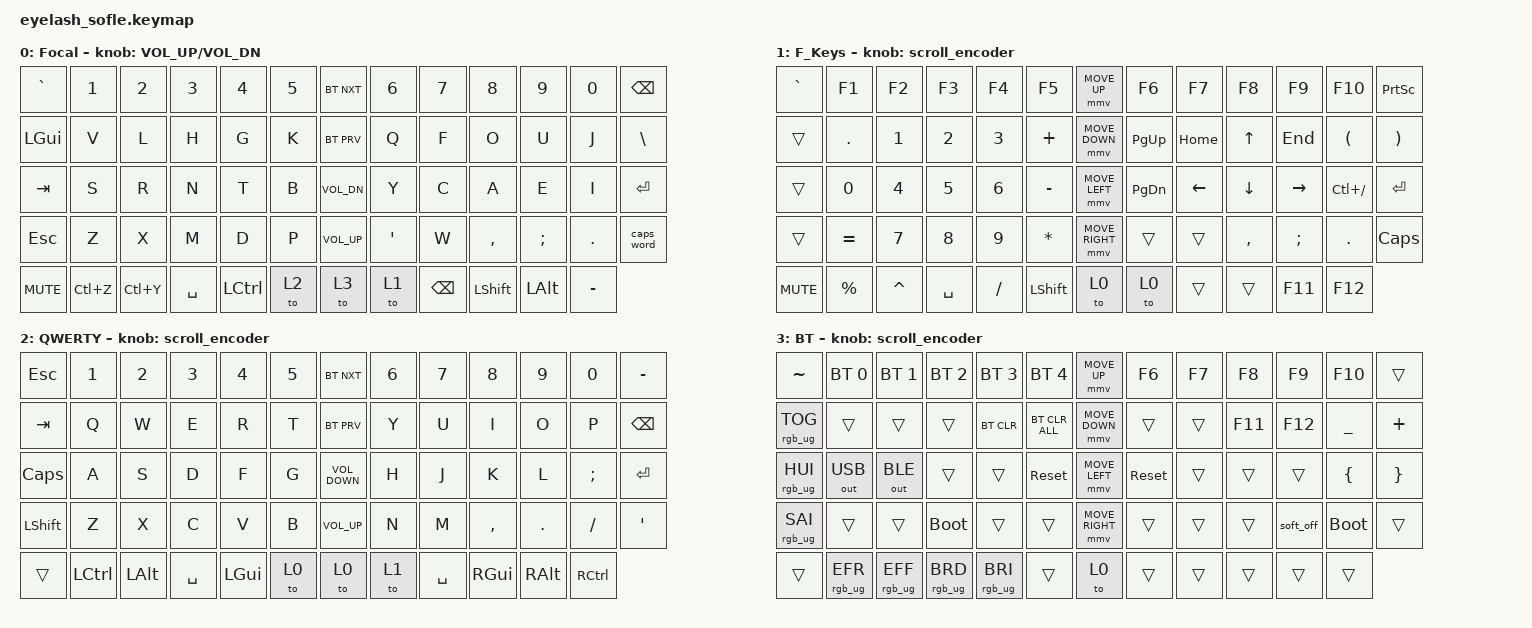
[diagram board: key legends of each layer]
#define ZMK_POINTING_DEFAULT_MOVE_VAL 1200  // 600
#define ZMK_POINTING_DEFAULT_SCRL_VAL 25   // 10

#include <input/processors.dtsi>
#include <zephyr/dt-bindings/input/input-event-codes.h>
#include <behaviors.dtsi>
#include <dt-bindings/zmk/bt.h>
#include <dt-bindings/zmk/keys.h>
#include <dt-bindings/zmk/outputs.h>
#include <dt-bindings/zmk/pointing.h>
#include <dt-bindings/zmk/rgb.h>

&mmv_input_listener { input-processors = <&zip_xy_scaler 2 1>; };

&msc_input_listener { input-processors = <&zip_scroll_scaler 2 1>; };

&msc {
    acceleration-exponent = <1>;      // 0
    time-to-max-speed-ms = <100>;       // 300
    delay-ms = <0>;                   // 0
};

&mmv {
    time-to-max-speed-ms = <500>;
    acceleration-exponent = <1>;
    trigger-period-ms = <16>;
};

/ {
    scroll_encoder: scroll_encoder {
        compatible = "zmk,behavior-sensor-rotate";
        #sensor-binding-cells = <0>;
        bindings = <&msc SCRL_DOWN>, <&msc SCRL_UP>;

        tap-ms = <100>;
    };

    combos {
        compatible = "zmk,combos";

        left_layer {
            bindings = <&tog 1>;
            key-positions = <27 28 29>;
            layers = <0 1>;
            timeout-ms = <150>;
            slow-release;
        };

        right_layer {
            bindings = <&tog 1>;
            key-positions = <35 36 37>;
            layers = <0 1>;
            timeout-ms = <150>;
            slow-release;
        };

        exclaimation {
            bindings = <&kp EXCL>;
            key-positions = <48 49>;
            timeout-ms = <150>;
            layers = <0 1>;
        };

        left_parenthesis {
            bindings = <&kp LEFT_PARENTHESIS>;
            key-positions = <34 30>;
            timeout-ms = <60>;
            layers = <0 1>;
        };

        right_parenthesis {
            bindings = <&kp RIGHT_PARENTHESIS>;
            key-positions = <35 29>;
            timeout-ms = <60>;
            layers = <0 1>;
        };

        left_square_bracket {
            bindings = <&kp LEFT_BRACKET>;
            key-positions = <21 17>;
            timeout-ms = <60>;
            layers = <0 1>;
        };

        right_square_bracket {
            bindings = <&kp RIGHT_BRACKET>;
            key-positions = <22 16>;
            timeout-ms = <60>;
            layers = <0 1>;
        };

        left_curly_bracket {
            bindings = <&kp LEFT_BRACE>;
            key-positions = <47 43>;
            timeout-ms = <60>;
            layers = <0 1>;
        };

        right_curly_bracket {
            bindings = <&kp RIGHT_BRACE>;
            key-positions = <48 42>;
            timeout-ms = <60>;
            layers = <0 1>;
        };

        underscore {
            bindings = <&kp UNDERSCORE>;
            key-positions = <33 34>;
            timeout-ms = <80>;
            layers = <0 1>;
        };

        plus {
            bindings = <&kp PLUS>;
            key-positions = <42 43>;
            timeout-ms = <150>;
            layers = <0>;
        };

        minus {
            bindings = <&kp MINUS>;
            key-positions = <41 42>;
            timeout-ms = <150>;
            layers = <0>;
        };

        equal {
            bindings = <&kp EQUAL>;
            key-positions = <30 31>;
            timeout-ms = <80>;
            layers = <0>;
        };

        forward_slash {
            bindings = <&kp SLASH>;
            key-positions = <40 41>;
            timeout-ms = <150>;
            layers = <0>;
        };

        times {
            bindings = <&kp ASTERISK>;
            key-positions = <43 44>;
            timeout-ms = <150>;
            layers = <0>;
        };

        question_mark {
            bindings = <&kp QUESTION>;
            key-positions = <47 48>;
            timeout-ms = <150>;
            layers = <0 1>;
        };

        ampersand {
            bindings = <&kp AMPERSAND>;
            key-positions = <50 49>;
            timeout-ms = <150>;
            layers = <0 1>;
        };

        caret {
            bindings = <&kp CARET>;
            key-positions = <46 47>;
            timeout-ms = <150>;
            layers = <0 1>;
        };

        percent {
            bindings = <&kp PERCENT>;
            key-positions = <17 18>;
            timeout-ms = <150>;
            layers = <0 1>;
        };

        at_sign {
            bindings = <&kp AT>;
            key-positions = <20 21>;
            timeout-ms = <150>;
            layers = <0 1>;
        };
    };

    behaviors {
    };

    keymap {
        compatible = "zmk,keymap";

        Focal {
            bindings = <
&kp GRAVE     &kp N1     &kp N2     &kp N3     &kp N4            &kp N5    &bt BT_NXT       &kp N6   &kp N7         &kp N8          &kp N9         &kp N0      &kp BACKSPACE
&kp LEFT_GUI  &kp V      &kp L      &kp H      &kp G             &kp K     &bt BT_PRV       &kp Q    &kp F          &kp O           &kp U          &kp J       &kp BSLH
&kp TAB       &kp S      &kp R      &kp N      &kp T             &kp B     &kp C_VOL_DN     &kp Y    &kp C          &kp A           &kp E          &kp I       &kp RET
&kp ESCAPE    &kp Z      &kp X      &kp M      &kp D             &kp P     &kp C_VOLUME_UP  &kp SQT  &kp W          &kp COMMA       &kp SEMICOLON  &kp PERIOD  &caps_word
&kp C_MUTE    &kp LC(Z)  &kp LC(Y)  &kp SPACE  &kp LEFT_CONTROL  &to 2     &to 3            &to 1    &kp BACKSPACE  &kp LEFT_SHIFT  &kp LEFT_ALT   &kp MINUS
            >;

            sensor-bindings = <&inc_dec_kp C_VOLUME_UP C_VOL_DN>;
            display-name = "Focal";
        };

        F_Keys {
            bindings = <
&kp GRAVE   &kp F1        &kp F2        &kp F3     &kp F4     &kp F5            &mmv MOVE_UP     &kp F6     &kp F7    &kp F8     &kp F9         &kp F10               &kp PRINTSCREEN
&trans      &kp PERIOD    &kp NUMBER_1  &kp N2     &kp N3     &kp PLUS          &mmv MOVE_DOWN   &kp PG_UP  &kp HOME  &kp UP     &kp END        &kp LEFT_PARENTHESIS  &kp RIGHT_PARENTHESIS
&trans      &kp NUMBER_0  &kp N4        &kp N5     &kp N6     &kp MINUS         &mmv MOVE_LEFT   &kp PG_DN  &kp LEFT  &kp DOWN   &kp RIGHT      &kp LC(SLASH)         &kp ENTER
&trans      &kp EQUAL     &kp N7        &kp N8     &kp N9     &kp ASTRK         &mmv MOVE_RIGHT  &trans     &trans    &kp COMMA  &kp SEMICOLON  &kp PERIOD            &kp CAPSLOCK
&kp C_MUTE  &kp PERCENT   &kp CARET     &kp SPACE  &kp SLASH  &kp LEFT_SHIFT    &to 0            &to 0      &trans    &trans     &kp F11        &kp F12
            >;

            display-name = "F_Keys";
            sensor-bindings = <&scroll_encoder>;
        };

        QWERTY {
            bindings = <
&kp ESC    &kp N1     &kp N2    &kp N3     &kp N4        &kp N5    &bt BT_NXT         &kp N6  &kp N7     &kp N8     &kp N9    &kp N0     &kp MINUS
&kp TAB    &kp Q      &kp W     &kp E      &kp R         &kp T     &bt BT_PRV         &kp Y   &kp U      &kp I      &kp O     &kp P      &kp BSPC
&kp CAPS   &kp A      &kp S     &kp D      &kp F         &kp G     &kp C_VOLUME_DOWN  &kp H   &kp J      &kp K      &kp L     &kp SEMI   &kp ENTER
&kp LSHFT  &kp Z      &kp X     &kp C      &kp V         &kp B     &kp C_VOLUME_UP    &kp N   &kp M      &kp COMMA  &kp DOT   &kp FSLH   &kp APOS
&trans     &kp LCTRL  &kp LALT  &kp SPACE  &kp LEFT_GUI  &to 0     &to 0              &to 1   &kp SPACE  &kp RGUI   &kp RALT  &kp RCTRL
            >;

            sensor-bindings = <&scroll_encoder>;
            label = "QWERTY";
        };

        BT {
            bindings = <
&kp TILDE        &bt BT_SEL 0     &bt BT_SEL 1     &bt BT_SEL 2     &bt BT_SEL 3     &bt BT_SEL 4      &mmv MOVE_UP     &kp F6      &kp F7  &kp F8   &kp F9     &kp F10      &trans
&rgb_ug RGB_TOG  &trans           &trans           &trans           &bt BT_CLR       &bt BT_CLR_ALL    &mmv MOVE_DOWN   &trans      &trans  &kp F11  &kp F12    &kp UNDER    &kp PLUS
&rgb_ug RGB_HUI  &out OUT_USB     &out OUT_BLE     &trans           &trans           &sys_reset        &mmv MOVE_LEFT   &sys_reset  &trans  &trans   &trans     &kp LBRC     &kp RBRC
&rgb_ug RGB_SAI  &trans           &trans           &bootloader      &trans           &trans            &mmv MOVE_RIGHT  &trans      &trans  &trans   &soft_off  &bootloader  &trans
&trans           &rgb_ug RGB_EFR  &rgb_ug RGB_EFF  &rgb_ug RGB_BRD  &rgb_ug RGB_BRI  &trans            &to 0            &trans      &trans  &trans   &trans     &trans
            >;

            sensor-bindings = <&scroll_encoder>;
            label = "BT";
        };
    };
};
